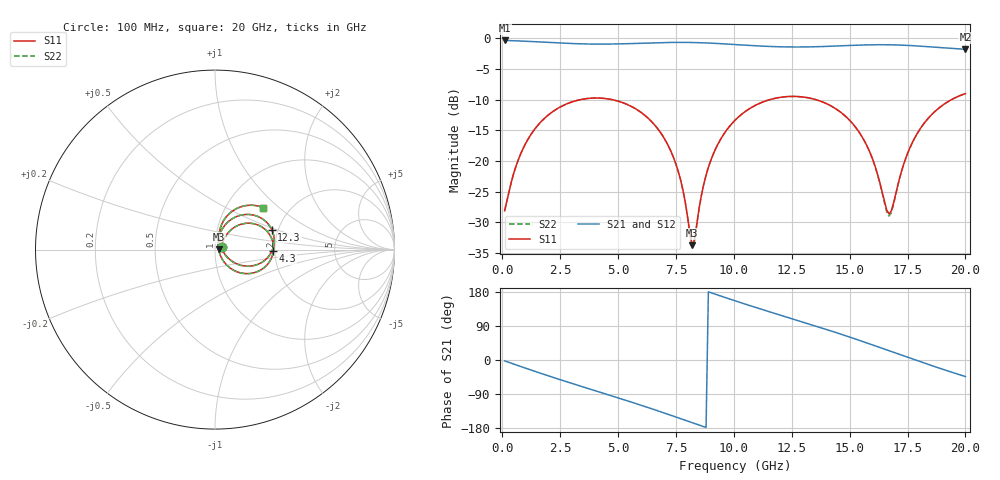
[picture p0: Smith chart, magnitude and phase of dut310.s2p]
! Touchstone file exported from HFSS 2026.1.0
!  File:  C:/ffzhzh/LocalFiles/Ansys_Project_Files/temp_train_TSV_RDL_310_1783029499_46388.aedt
!  Generated:  06:11:56 AM Jul  3, 2026
!  Design:  TSV_RDL
!  Project:  temp_train_TSV_RDL_310_1783029499_46388
! Variables:
!  h_bsmrdl = 5.29um
!  h_ox = 20um
!  h_rdl = 5um
!  h_sub = 92.01um
!  h_tmrdl = 4.33um
!  h_tsv = 92.01um
!  h_via = 3um
!  l_bsmrdl = 903.53um
!  l_sub = 5707.61um
!  l_tmrdl = 633.22um
!  m_sub = 200um
!  pitch = 28.47um
!  r_tsv = 12.65um
!  s_tmrdl = 10um
!  w_bsmrdl = 10.81um
!  w_sub = 500um
!  w_tmrdl = 10.57um
!  x_tsv_center1 = 638.505um
!  x_tsv_center2 = 1552.845um
!  x_tsv_center3 = 2196.635um
!  x_tsv_center4 = 3110.975um
!  x_tsv_center5 = 3754.765um
!  x_tsv_center6 = 4669.105um
# GHz S MA R 50.000000
! Terminal data exported
! Port[1] = TM_RDL1_1_T1
! Port[2] = TM_RDL5_1_T1
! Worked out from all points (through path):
!   200 points, 100 MHz to 20 GHz, reference 50 ohm
!   highest |S21| = -0.32 dB at 100 MHz (marker M1); lowest = -1.8 dB at 20 GHz (marker M2)
!   group delay of S21, straight-line fit = 55.8 ps
!   lowest |S11| = -33.7 dB at 8.2 GHz (marker M3), VSWR 1.04, Z = 52.1 + j0.062 ohm
!   |S11| at or under -10 dB: start of sweep to 3.36 GHz; 4.759 GHz to 11.54 GHz (6.782 GHz wide, 83.2 % of centre); 13.55 GHz to 19.39 GHz (5.839 GHz wide, 35.4 % of centre)
!   |S22| runs from -33.9 to -9.0 dB; largest |S21 - S12| = 1.6e-14
!   S11 on the Smith chart (normalised r, x): 100 MHz: 1.08, +0.03; 4.3 GHz: 1.96, -0.04; 12.3 GHz: 1.85, +0.46; 20 GHz: 1.47, +0.79
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0.1  0.0392 20.1  0.9636 -2.2  0.9636 -2.2  0.0392 20.1
! Gamma 0 0 0 0
! Port Impedance 50 0 50 0
0.6  0.0916 51.2  0.9567 -13.0  0.9567 -13.0  0.09161 51.2
1.3  0.1712 48.3  0.9439 -27.7  0.9439 -27.7  0.1712 48.3
2.3  0.262 33.2  0.9223 -48.0  0.9223 -48.0  0.262 33.2
3.5  0.32 12.5  0.9032 -71.2  0.9032 -71.2  0.32 12.5
4.3  0.3253 -1.5  0.8996 -86.4  0.8996 -86.4  0.3253 -1.6
5.6  0.2771 -24.6  0.9093 -111.6  0.9093 -111.6  0.2771 -24.7
6.8  0.174 -45.2  0.9244 -135.8  0.9244 -135.8  0.174 -45.4
7.6  0.08203 -53.6  0.9293 -152.6  0.9293 -152.6  0.08197 -54.0
8.2  0.02054 1.7  0.9272 -165.3  0.9272 -165.3  0.02014 1.3
8.3  0.02265 34.0  0.9264 -167.5  0.9264 -167.5  0.02227 34.3
8.7  0.06449 71.3  0.9214 -175.9  0.9214 -175.9  0.06432 71.6
9  0.1006 72.0  0.9163 177.8  0.9163 177.8  0.1005 72.2
10.1  0.2195 56.9  0.8913 155.2  0.8913 155.2  0.2194 57.0
12.3  0.3353 19.4  0.853 112.9  0.853 112.9  0.3353 19.3
13.4  0.322 0.8  0.855 92.2  0.855 92.2  0.322 0.6
15.4  0.173 -30.7  0.8828 52.2  0.8828 52.2  0.1727 -31.2
16  0.1026 -33.9  0.8885 39.5  0.8885 39.5  0.1022 -34.7
16.7  0.03693 19.0  0.8885 24.4  0.8885 24.4  0.03547 18.8
17.4  0.1023 75.4  0.8801 9.3  0.8801 9.3  0.1018 76.1
18  0.1773 72.5  0.8672 -3.5  0.8672 -3.5  0.177 72.9
20  0.3546 41.3  0.8156 -43.6  0.8156 -43.6  0.3545 41.4
